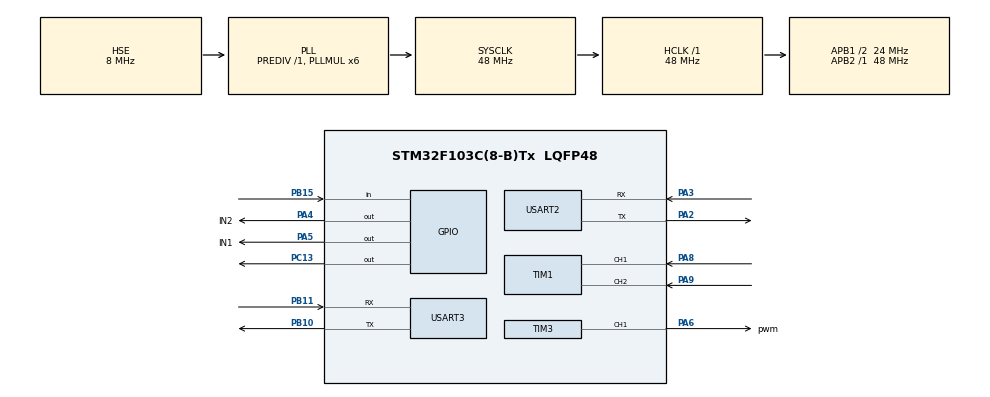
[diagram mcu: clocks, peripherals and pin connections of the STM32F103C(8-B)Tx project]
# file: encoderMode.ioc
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Dma.Request0=USART2_RX
Dma.USART2_RX.0.Direction=DMA_PERIPH_TO_MEMORY
Dma.USART2_RX.0.Instance=DMA1_Channel6
Dma.USART2_RX.0.MemDataAlignment=DMA_MDATAALIGN_BYTE
Dma.USART2_RX.0.MemInc=DMA_MINC_ENABLE
Dma.USART2_RX.0.Mode=DMA_NORMAL
Dma.USART2_RX.0.PeriphDataAlignment=DMA_PDATAALIGN_BYTE
Dma.USART2_RX.0.PeriphInc=DMA_PINC_DISABLE
Dma.USART2_RX.0.Priority=DMA_PRIORITY_LOW
Mcu.Family=STM32F1
Mcu.Name=STM32F103C(8-B)Tx
Mcu.Package=LQFP48
NVIC.DMA1_Channel6_IRQn=true\:0\:0\:false\:false\:true\:false\:true
NVIC.PriorityGroup=NVIC_PRIORITYGROUP_4
NVIC.TIM2_IRQn=true\:0\:0\:false\:false\:true\:true\:true
PA13.Mode=Serial_Wire
PA13.Signal=SYS_JTMS-SWDIO
PA14.Mode=Serial_Wire
PA14.Signal=SYS_JTCK-SWCLK
PA2.Mode=Asynchronous
PA2.Signal=USART2_TX
PA3.GPIO_PuPd=GPIO_PULLUP
PA3.Mode=Asynchronous
PA3.Signal=USART2_RX
PA4.GPIO_Label=IN2
PA4.Signal=GPIO_Output
PA5.GPIO_Label=IN1
PA5.Signal=GPIO_Output
PA6.GPIO_Label=pwm
PA6.Signal=S_TIM3_CH1
PA8.Signal=S_TIM1_CH1
PA9.Signal=S_TIM1_CH2
PB10.Mode=Asynchronous
PB10.Signal=USART3_TX
PB11.GPIO_PuPd=GPIO_PULLUP
PB11.Mode=Asynchronous
PB11.Signal=USART3_RX
PB15.GPIO_PuPd=GPIO_PULLUP
PB15.Signal=GPIO_Input
PC13-TAMPER-RTC.Signal=GPIO_Output
PD0-OSC_IN.Mode=HSE-External-Oscillator
PD0-OSC_IN.Signal=RCC_OSC_IN
PD1-OSC_OUT.Mode=HSE-External-Oscillator
PD1-OSC_OUT.Signal=RCC_OSC_OUT
ProjectManager.HeapSize=0x200
ProjectManager.StackSize=0x400
ProjectManager.TargetToolchain=STM32CubeIDE
RCC.AHBFreq_Value=48000000
RCC.APB1CLKDivider=RCC_HCLK_DIV2
RCC.APB1Freq_Value=24000000
RCC.APB1TimFreq_Value=48000000
RCC.APB2Freq_Value=48000000
RCC.APB2TimFreq_Value=48000000
RCC.HCLKFreq_Value=48000000
RCC.PLLMUL=RCC_PLL_MUL6
RCC.PLLSourceVirtual=RCC_PLLSOURCE_HSE
RCC.SYSCLKFreq_VALUE=48000000
RCC.SYSCLKSource=RCC_SYSCLKSOURCE_PLLCLK
RCC.USBFreq_Value=48000000
SH.S_TIM1_CH1.0=TIM1_CH1,Encoder_Interface
SH.S_TIM1_CH2.0=TIM1_CH2,Encoder_Interface
SH.S_TIM3_CH1.0=TIM3_CH1,PWM Generation1 CH1
TIM1.AutoReloadPreload=TIM_AUTORELOAD_PRELOAD_ENABLE
TIM1.EncoderMode=TIM_ENCODERMODE_TI12
TIM1.IC1Filter=10
TIM1.IC1Polarity=TIM_ICPOLARITY_FALLING
TIM1.IC2Filter=10
TIM1.IC2Polarity=TIM_ICPOLARITY_FALLING
TIM2.Period=99
TIM2.Prescaler=4799
TIM3.Channel-PWM\ Generation1\ CH1=TIM_CHANNEL_1
TIM3.Period=999
TIM3.Prescaler=3
USART2.VirtualMode=VM_ASYNC
USART3.VirtualMode=VM_ASYNC
VP_TIM2_VS_ClockSourceINT.Mode=Internal
VP_TIM3_VS_ClockSourceINT.Mode=Internal
board=custom

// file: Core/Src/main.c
/* USER CODE BEGIN Header */
/**
  ******************************************************************************
  * @file           : main.c
  * @brief          : Main program body
  ******************************************************************************
  * @attention
  *
  * <h2><center>&copy; Copyright (c) 2024 STMicroelectronics.
  * All rights reserved.</center></h2>
  *
  * This software component is licensed by ST under BSD 3-Clause license,
  * the "License"; You may not use this file except in compliance with the
  * License. You may obtain a copy of the License at:
  *                        opensource.org/licenses/BSD-3-Clause
  *
  ******************************************************************************
  */
/* USER CODE END Header */
#include "main.h"

/* USER CODE BEGIN Includes */
#include "micros.h"
#include "PID.h"
#include "stdio.h"
#include "stdlib.h"
#include "string.h"
/* USER CODE END Includes */

/* USER CODE BEGIN PTD */
void initPwm();
int oldCounter = 0;
volatile short counter = 0;
_Bool buttonState = 0;
_Bool motorState = 1;
volatile float speed = 0;
volatile int encoderValueInEncoderMode = 0;
volatile double timeMeasure = 0;
PID_TypeDef speedPID;
char mes[20] = {'\0'};
double inputSpeed, outputPWM = 0, setPoint;
unsigned long buttonTime = 0;
void cmdHBridge(short pwmVal);
void HAL_GPIO_EXTI_Callback(uint16_t GPIO_Pin);
/* USER CODE END PTD */

TIM_HandleTypeDef htim1;
TIM_HandleTypeDef htim2;
TIM_HandleTypeDef htim3;

UART_HandleTypeDef huart2;
UART_HandleTypeDef huart3;
DMA_HandleTypeDef hdma_usart2_rx;

void SystemClock_Config(void);
static void MX_GPIO_Init(void);
static void MX_DMA_Init(void);
static void MX_TIM1_Init(void);
static void MX_TIM2_Init(void);
static void MX_TIM3_Init(void);
static void MX_USART3_UART_Init(void);
static void MX_USART2_UART_Init(void);

int main(void)
{

  /* MCU Configuration--------------------------------------------------------*/

  /* Reset of all peripherals, Initializes the Flash interface and the Systick. */
  HAL_Init();

  /* Configure the system clock */
  SystemClock_Config();

  /* Initialize all configured peripherals */
  MX_GPIO_Init();
  MX_DMA_Init();
  MX_TIM1_Init();
  MX_TIM2_Init();
  MX_TIM3_Init();
  MX_USART3_UART_Init();
  MX_USART2_UART_Init();
  /* USER CODE BEGIN 2 */
  initPwm();
  DWT_Init();
  cmdHBridge(0);
  HAL_GPIO_WritePin(GPIOC, GPIO_PIN_13, 0);
  //PID(&speedPID, &inputSpeed, &outputPWM, &setPoint, 130, 73, 0.186, _PID_P_ON_E, _PID_CD_DIRECT); // 70
  PID(&speedPID, &inputSpeed, &outputPWM, &setPoint, 42.08, 509.23, 0.5, _PID_P_ON_E, _PID_CD_DIRECT);//70
  //PID(&speedPID, &inputSpeed, &outputPWM, &setPoint, 0.000144, 0.201598, 0, _PID_P_ON_E, _PID_CD_DIRECT);
  //PID(&speedPID, &inputSpeed, &outputPWM, &setPoint, 80, 35, 0.834, _PID_P_ON_E, _PID_CD_DIRECT); //70
  PID_SetMode(&speedPID, _PID_MODE_AUTOMATIC);
  PID_SetSampleTime(&speedPID, 10);
  PID_SetOutputLimits(&speedPID, -980, 980);
  HAL_TIM_Encoder_Start(&htim1, TIM_CHANNEL_ALL);
  setPoint = 100;

  sprintf(mes, "%d,%d,%d\n", 0, inputSpeed, outputPWM);
  HAL_UART_Transmit(&huart3, mes, strlen(mes), 10);
  timeMeasure = micros()/1000000;
  /* USER CODE END 2 */

  /* Infinite loop */
  /* USER CODE BEGIN WHILE */
  while (1)
  {
	  //sprintf(mes, "%d\n", 25);
	  //HAL_UART_Transmit(&huart3, (uint8_t*)mes, sizeof(mes), 10);
	  //HAL_Delay(1000);
	  //PID_Compute(&speedPID);
	  //cmdHBridge(outputPWM);
	  if(motorState){
	  		  PID_Compute(&speedPID);
	  		  cmdHBridge(outputPWM);
	  		  HAL_GPIO_TogglePin(GPIOC, GPIO_PIN_13);
	  		  //cmdHBridge(500);
	  		  //float temp = (float)micros()/1000000 - timeMeasure;
	  		  //sprintf(mes, "%.2f\n", inputSpeed);
	  		  //HAL_UART_Transmit(&huart3, mes, strlen(mes), 10);
	  	  }
	  	  if(HAL_GPIO_ReadPin(GPIOB, GPIO_PIN_15) == 0 && buttonState == 0 && micros() - buttonTime > 20000){
	  		  buttonState = 1;
	  		  motorState = !motorState;
	  		  if(motorState){
	  			  //cmdHBridge(1, 980);
	  		  }else {
	  			  cmdHBridge(0);
	  		  }
	  		  //HAL_GPIO_WritePin(GPIOC, GPIO_PIN_13, 1);
	  	  }
	  	  if(buttonState == 1 && HAL_GPIO_ReadPin(GPIOB, GPIO_PIN_15) == 1){
	  		  buttonState = 0;
	  		  //HAL_GPIO_WritePin(GPIOC, GPIO_PIN_13, 0);
	  		  buttonTime =  micros();
	  	  }
    /* USER CODE END WHILE */

  }
}

void SystemClock_Config(void)
{
  RCC_OscInitTypeDef RCC_OscInitStruct = {0};
  RCC_ClkInitTypeDef RCC_ClkInitStruct = {0};

  /** Initializes the RCC Oscillators according to the specified parameters
  * in the RCC_OscInitTypeDef structure.
  */
  RCC_OscInitStruct.OscillatorType = RCC_OSCILLATORTYPE_HSE;
  RCC_OscInitStruct.HSEState = RCC_HSE_ON;
  RCC_OscInitStruct.HSEPredivValue = RCC_HSE_PREDIV_DIV1;
  RCC_OscInitStruct.HSIState = RCC_HSI_ON;
  RCC_OscInitStruct.PLL.PLLState = RCC_PLL_ON;
  RCC_OscInitStruct.PLL.PLLSource = RCC_PLLSOURCE_HSE;
  RCC_OscInitStruct.PLL.PLLMUL = RCC_PLL_MUL6;
  if (HAL_RCC_OscConfig(&RCC_OscInitStruct) != HAL_OK)
  {
    Error_Handler();
  }
  /** Initializes the CPU, AHB and APB buses clocks
  */
  RCC_ClkInitStruct.ClockType = RCC_CLOCKTYPE_HCLK|RCC_CLOCKTYPE_SYSCLK
                              |RCC_CLOCKTYPE_PCLK1|RCC_CLOCKTYPE_PCLK2;
  RCC_ClkInitStruct.SYSCLKSource = RCC_SYSCLKSOURCE_PLLCLK;
  RCC_ClkInitStruct.AHBCLKDivider = RCC_SYSCLK_DIV1;
  RCC_ClkInitStruct.APB1CLKDivider = RCC_HCLK_DIV2;
  RCC_ClkInitStruct.APB2CLKDivider = RCC_HCLK_DIV1;

  if (HAL_RCC_ClockConfig(&RCC_ClkInitStruct, FLASH_LATENCY_1) != HAL_OK)
  {
    Error_Handler();
  }
}

static void MX_TIM1_Init(void)
{

  TIM_Encoder_InitTypeDef sConfig = {0};
  TIM_MasterConfigTypeDef sMasterConfig = {0};

  htim1.Instance = TIM1;
  htim1.Init.Prescaler = 0;
  htim1.Init.CounterMode = TIM_COUNTERMODE_UP;
  htim1.Init.Period = 65535;
  htim1.Init.ClockDivision = TIM_CLOCKDIVISION_DIV1;
  htim1.Init.RepetitionCounter = 0;
  htim1.Init.AutoReloadPreload = TIM_AUTORELOAD_PRELOAD_ENABLE;
  sConfig.EncoderMode = TIM_ENCODERMODE_TI12;
  sConfig.IC1Polarity = TIM_ICPOLARITY_FALLING;
  sConfig.IC1Selection = TIM_ICSELECTION_DIRECTTI;
  sConfig.IC1Prescaler = TIM_ICPSC_DIV1;
  sConfig.IC1Filter = 10;
  sConfig.IC2Polarity = TIM_ICPOLARITY_FALLING;
  sConfig.IC2Selection = TIM_ICSELECTION_DIRECTTI;
  sConfig.IC2Prescaler = TIM_ICPSC_DIV1;
  sConfig.IC2Filter = 10;
  if (HAL_TIM_Encoder_Init(&htim1, &sConfig) != HAL_OK)
  {
    Error_Handler();
  }
  sMasterConfig.MasterOutputTrigger = TIM_TRGO_RESET;
  sMasterConfig.MasterSlaveMode = TIM_MASTERSLAVEMODE_DISABLE;
  if (HAL_TIMEx_MasterConfigSynchronization(&htim1, &sMasterConfig) != HAL_OK)
  {
    Error_Handler();
  }

}

static void MX_TIM2_Init(void)
{

  TIM_ClockConfigTypeDef sClockSourceConfig = {0};
  TIM_MasterConfigTypeDef sMasterConfig = {0};

  htim2.Instance = TIM2;
  htim2.Init.Prescaler = 4799;
  htim2.Init.CounterMode = TIM_COUNTERMODE_UP;
  htim2.Init.Period = 99;
  htim2.Init.ClockDivision = TIM_CLOCKDIVISION_DIV1;
  htim2.Init.AutoReloadPreload = TIM_AUTORELOAD_PRELOAD_DISABLE;
  if (HAL_TIM_Base_Init(&htim2) != HAL_OK)
  {
    Error_Handler();
  }
  sClockSourceConfig.ClockSource = TIM_CLOCKSOURCE_INTERNAL;
  if (HAL_TIM_ConfigClockSource(&htim2, &sClockSourceConfig) != HAL_OK)
  {
    Error_Handler();
  }
  sMasterConfig.MasterOutputTrigger = TIM_TRGO_RESET;
  sMasterConfig.MasterSlaveMode = TIM_MASTERSLAVEMODE_DISABLE;
  if (HAL_TIMEx_MasterConfigSynchronization(&htim2, &sMasterConfig) != HAL_OK)
  {
    Error_Handler();
  }

}

static void MX_TIM3_Init(void)
{

  TIM_ClockConfigTypeDef sClockSourceConfig = {0};
  TIM_MasterConfigTypeDef sMasterConfig = {0};
  TIM_OC_InitTypeDef sConfigOC = {0};

  htim3.Instance = TIM3;
  htim3.Init.Prescaler = 3;
  htim3.Init.CounterMode = TIM_COUNTERMODE_UP;
  htim3.Init.Period = 999;
  htim3.Init.ClockDivision = TIM_CLOCKDIVISION_DIV1;
  htim3.Init.AutoReloadPreload = TIM_AUTORELOAD_PRELOAD_DISABLE;
  if (HAL_TIM_Base_Init(&htim3) != HAL_OK)
  {
    Error_Handler();
  }
  sClockSourceConfig.ClockSource = TIM_CLOCKSOURCE_INTERNAL;
  if (HAL_TIM_ConfigClockSource(&htim3, &sClockSourceConfig) != HAL_OK)
  {
    Error_Handler();
  }
  if (HAL_TIM_PWM_Init(&htim3) != HAL_OK)
  {
    Error_Handler();
  }
  sMasterConfig.MasterOutputTrigger = TIM_TRGO_RESET;
  sMasterConfig.MasterSlaveMode = TIM_MASTERSLAVEMODE_DISABLE;
  if (HAL_TIMEx_MasterConfigSynchronization(&htim3, &sMasterConfig) != HAL_OK)
  {
    Error_Handler();
  }
  sConfigOC.OCMode = TIM_OCMODE_PWM1;
  sConfigOC.Pulse = 0;
  sConfigOC.OCPolarity = TIM_OCPOLARITY_HIGH;
  sConfigOC.OCFastMode = TIM_OCFAST_DISABLE;
  if (HAL_TIM_PWM_ConfigChannel(&htim3, &sConfigOC, TIM_CHANNEL_1) != HAL_OK)
  {
    Error_Handler();
  }
  HAL_TIM_MspPostInit(&htim3);

}

static void MX_USART2_UART_Init(void)
{

  huart2.Instance = USART2;
  huart2.Init.BaudRate = 115200;
  huart2.Init.WordLength = UART_WORDLENGTH_8B;
  huart2.Init.StopBits = UART_STOPBITS_1;
  huart2.Init.Parity = UART_PARITY_NONE;
  huart2.Init.Mode = UART_MODE_TX_RX;
  huart2.Init.HwFlowCtl = UART_HWCONTROL_NONE;
  huart2.Init.OverSampling = UART_OVERSAMPLING_16;
  if (HAL_UART_Init(&huart2) != HAL_OK)
  {
    Error_Handler();
  }

}

static void MX_USART3_UART_Init(void)
{

  huart3.Instance = USART3;
  huart3.Init.BaudRate = 115200;
  huart3.Init.WordLength = UART_WORDLENGTH_8B;
  huart3.Init.StopBits = UART_STOPBITS_1;
  huart3.Init.Parity = UART_PARITY_NONE;
  huart3.Init.Mode = UART_MODE_TX_RX;
  huart3.Init.HwFlowCtl = UART_HWCONTROL_NONE;
  huart3.Init.OverSampling = UART_OVERSAMPLING_16;
  if (HAL_UART_Init(&huart3) != HAL_OK)
  {
    Error_Handler();
  }

}

static void MX_DMA_Init(void)
{

  /* DMA controller clock enable */
  __HAL_RCC_DMA1_CLK_ENABLE();

  /* DMA interrupt init */
  /* DMA1_Channel6_IRQn interrupt configuration */
  HAL_NVIC_SetPriority(DMA1_Channel6_IRQn, 0, 0);
  HAL_NVIC_EnableIRQ(DMA1_Channel6_IRQn);

}

static void MX_GPIO_Init(void)
{
  GPIO_InitTypeDef GPIO_InitStruct = {0};

  /* GPIO Ports Clock Enable */
  __HAL_RCC_GPIOC_CLK_ENABLE();
  __HAL_RCC_GPIOD_CLK_ENABLE();
  __HAL_RCC_GPIOA_CLK_ENABLE();
  __HAL_RCC_GPIOB_CLK_ENABLE();

  /*Configure GPIO pin Output Level */
  HAL_GPIO_WritePin(GPIOC, GPIO_PIN_13, GPIO_PIN_RESET);

  /*Configure GPIO pin Output Level */
  HAL_GPIO_WritePin(GPIOA, IN2_Pin|IN1_Pin, GPIO_PIN_RESET);

  /*Configure GPIO pin : PC13 */
  GPIO_InitStruct.Pin = GPIO_PIN_13;
  GPIO_InitStruct.Mode = GPIO_MODE_OUTPUT_PP;
  GPIO_InitStruct.Pull = GPIO_NOPULL;
  GPIO_InitStruct.Speed = GPIO_SPEED_FREQ_LOW;
  HAL_GPIO_Init(GPIOC, &GPIO_InitStruct);

  /*Configure GPIO pins : IN2_Pin IN1_Pin */
  GPIO_InitStruct.Pin = IN2_Pin|IN1_Pin;
  GPIO_InitStruct.Mode = GPIO_MODE_OUTPUT_PP;
  GPIO_InitStruct.Pull = GPIO_NOPULL;
  GPIO_InitStruct.Speed = GPIO_SPEED_FREQ_LOW;
  HAL_GPIO_Init(GPIOA, &GPIO_InitStruct);

  /*Configure GPIO pin : PB15 */
  GPIO_InitStruct.Pin = GPIO_PIN_15;
  GPIO_InitStruct.Mode = GPIO_MODE_INPUT;
  GPIO_InitStruct.Pull = GPIO_PULLUP;
  HAL_GPIO_Init(GPIOB, &GPIO_InitStruct);

}

/* USER CODE BEGIN 4 */
void HAL_TIM_PeriodElapsedCallback(TIM_HandleTypeDef *htim) { // PID apply
  if (htim->Instance == TIM2) {
	  	__disable_irq();
	  	counter = (int)__HAL_TIM_GET_COUNTER(&htim1);
	  	speed = counter;
	  	inputSpeed = speed;
	  	oldCounter = counter;
	  	__HAL_TIM_SET_COUNTER(&htim1, 0);
	  	if(motorState){
	  		float temp = (float)micros()/1000000 - timeMeasure;
	  		sprintf(mes, "%.2f,%.2f,%.2f\n", temp, inputSpeed, outputPWM);
	  		HAL_UART_Transmit(&huart3, mes, strlen(mes), 10);
	  	}

	  	HAL_GPIO_TogglePin(GPIOC, GPIO_PIN_13);
		__enable_irq();
  }
}
void cmdHBridge(short pwmVal){

	if(pwmVal < 0){
		HAL_GPIO_WritePin(GPIOA, IN1_Pin, 0);
		HAL_GPIO_WritePin(GPIOA, IN2_Pin, 1);
		__HAL_TIM_SET_COMPARE(&htim3, TIM_CHANNEL_1, -pwmVal);
	}else if(pwmVal > 0){
		HAL_GPIO_WritePin(GPIOA, IN1_Pin, 1);
		HAL_GPIO_WritePin(GPIOA, IN2_Pin, 0);
		__HAL_TIM_SET_COMPARE(&htim3, TIM_CHANNEL_1, pwmVal);
	}
	else {
		HAL_GPIO_WritePin(GPIOA, IN1_Pin, 0);
		HAL_GPIO_WritePin(GPIOA, IN2_Pin, 0);
		__HAL_TIM_SET_COMPARE(&htim3, TIM_CHANNEL_1, 0);
	}
}
void initPwm(){
	HAL_TIM_PWM_Start(&htim3,TIM_CHANNEL_1);
	HAL_TIM_Base_Start_IT(&htim2);
}
/* USER CODE END 4 */

void Error_Handler(void)
{
  __disable_irq();
  while (1)
  {
  }
}

/************************ (C) COPYRIGHT STMicroelectronics *****END OF FILE****/
